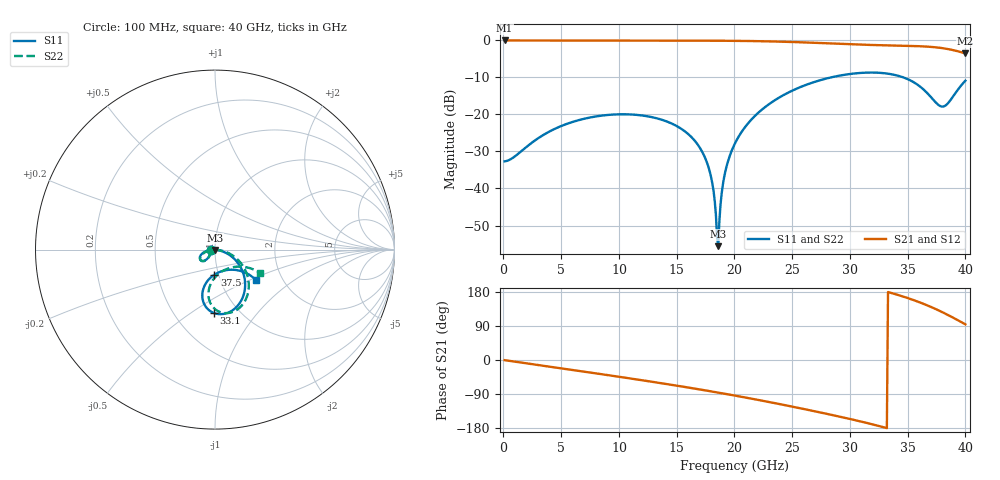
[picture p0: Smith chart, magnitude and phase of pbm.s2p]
! B_s8_L1L8_d300: physics-based via model (prototype), ports at the via
# Hz S RI R 50
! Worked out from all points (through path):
!   400 points, 100 MHz to 40 GHz, reference 50 ohm
!   highest |S21| = -0.20 dB at 100 MHz (marker M1); lowest = -3.7 dB at 40 GHz (marker M2)
!   group delay of S21, straight-line fit = 16.6 ps
!   lowest |S11| = -55.5 dB at 18.6 GHz (marker M3), VSWR 1.00, Z = 50.1 - j0.148 ohm
!   |S11| at or under -10 dB: start of sweep to 28.56 GHz; 34.5 GHz to end of sweep
!   |S22| runs from -55.3 to -8.8 dB; largest |S21 - S12| = 0
!   S11 on the Smith chart (normalised r, x): 100 MHz: 0.95, -0.00; 33.1 GHz: 0.77, -0.62; 37.5 GHz: 0.95, -0.27; 40 GHz: 1.47, -0.53
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1e8  -0.0231 -0.00125  0.9769 -0.00748  0.9769 -0.00748  -0.0231 -0.00126
3.9e9  -0.0368 -0.044  0.9323 -0.287  0.9323 -0.287  -0.0362 -0.0445
6.8e9  -0.059 -0.0613  0.8439 -0.4852  0.8439 -0.4852  -0.0574 -0.0629
1.34e10  -0.0804 -0.0326  0.4862 -0.8407  0.4862 -0.8407  -0.0786 -0.0367
1.59e10  -0.0544 -0.0108  0.298 -0.9242  0.298 -0.9242  -0.0537 -0.0142
1.74e10  -0.027 -0.0026  0.1725 -0.9548  0.1725 -0.9548  -0.0267 -0.00444
1.82e10  -0.00897 -0.00119  0.1023 -0.9639  0.1023 -0.9639  -0.00886 -0.00186
1.84e10  -0.00415 -0.00124  0.0845 -0.9653  0.0845 -0.9653  -0.00405 -0.00158
1.85e10  -0.00169 -0.00134  0.0755 -0.9659  0.0755 -0.9659  -0.0016 -0.0015
1.86e10  0.000789 -0.00148  0.0665 -0.9664  0.0665 -0.9664  0.000891 -0.00147
1.88e10  0.00584 -0.0019  0.0484 -0.9671  0.0484 -0.9671  0.00596 -0.00153
1.9e10  0.011 -0.00252  0.0303 -0.9674  0.0303 -0.9674  0.0111 -0.00177
1.94e10  0.0216 -0.00438  -0.00634 -0.967  -0.00634 -0.967  0.0218 -0.00282
2.01e10  0.0408 -0.00975  -0.071 -0.9623  -0.071 -0.9623  0.0414 -0.00664
2.26e10  0.1098 -0.0539  -0.3023 -0.9032  -0.3023 -0.9032  0.114 -0.0442
2.67e10  0.1679 -0.2027  -0.6297 -0.6595  -0.6297 -0.6595  0.1877 -0.1845
3.31e10  -0.00829 -0.3524  -0.8393 -0.015  -0.8393 -0.015  0.0361 -0.3506
3.34e10  -0.02 -0.3467  -0.8371 0.0222  -0.8371 0.0222  0.0242 -0.3464
3.56e10  -0.0708 -0.2541  -0.7574 0.3191  -0.7574 0.3191  -0.0359 -0.2612
3.75e10  -0.00384 -0.1398  -0.5419 0.5717  -0.5419 0.5717  0.0159 -0.1385
3.83e10  0.0647 -0.114  -0.3987 0.6442  -0.3987 0.6442  0.0804 -0.1028
4e10  0.2257 -0.1673  -0.0457 0.6512  -0.0457 0.6512  0.2486 -0.1302
